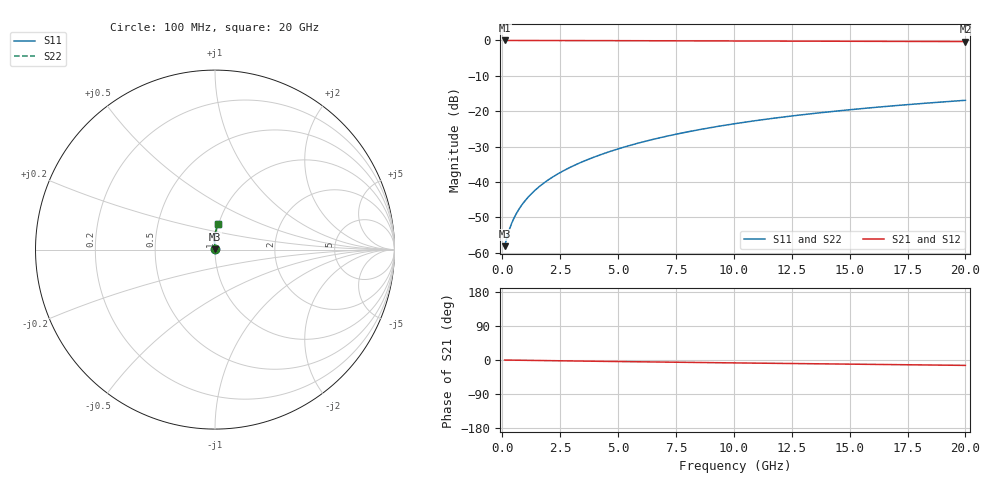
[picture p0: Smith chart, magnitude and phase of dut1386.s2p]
! Touchstone file exported from HFSS 2024.1.0
!  File:  C:/UserFiles/LocalFiles/RDL_TSV_Batchsim/temp_RDL_bottom_1386_1780371773.aedt
!  Generated:  11:45:41 AM Jun  2, 2026
!  Design:  RDL_bottom
!  Project:  temp_RDL_bottom_1386_1780371773
!  Setup:  Setup1
!  Solution:  Sweep
! Variables:
!  dtsv = 10.80580581um
!  hbump = 3um
!  htsv = 61.44um
!  ldown = 179.32um
!  lrdl = 100um
!  p = 40
!  p1 = 52.13um
!  rhole = 1um
!  t = 450um
!  tdown = 2.85um
!  trdl = 3.915915916um
!  wdown = 29.57um
!  wrdl = 20um
# GHz S MA R 50.000000
! Terminal data exported
! Port[1] = RDL1_T1
! Port[2] = RDL1_T2
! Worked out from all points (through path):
!   200 points, 100 MHz to 20 GHz, reference 50 ohm
!   highest |S21| = -0.01 dB at 100 MHz (marker M1); lowest = -0.3 dB at 20 GHz (marker M2)
!   group delay of S21, straight-line fit = 1.94 ps
!   lowest |S11| = -58.1 dB at 100 MHz (marker M3), VSWR 1.00, Z = 50.1 + j0.0615 ohm
!   |S11| at or under -10 dB: start of sweep to end of sweep
!   |S22| runs from -58.1 to -16.9 dB; largest |S21 - S12| = 2.1e-15
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0.1  0.001244 29.5  0.9989 -0.1  0.9989 -0.1  0.001244 29.5
! Gamma 0 0 0 0
! Port Impedance 50 0 50 0
0.2  0.001648 46.8  0.9988 -0.2  0.9988 -0.2  0.001648 46.8
0.3  0.002116 56.1  0.9988 -0.3  0.9988 -0.3  0.002116 56.1
0.4  0.002595 61.9  0.9987 -0.4  0.9987 -0.4  0.002595 61.9
0.5  0.003074 66.1  0.9986 -0.4  0.9986 -0.4  0.003074 66.1
0.6  0.003556 69.3  0.9985 -0.5  0.9985 -0.5  0.003556 69.3
0.8  0.004532 74.1  0.9984 -0.7  0.9984 -0.7  0.004532 74.1
1  0.005529 77.6  0.9982 -0.9  0.9982 -0.9  0.005529 77.6
1.2  0.006548 80.2  0.9981 -1.0  0.9981 -1.0  0.006548 80.2
1.7  0.009178 84.6  0.9976 -1.4  0.9976 -1.4  0.009178 84.7
2.2  0.01192 87.6  0.997 -1.9  0.997 -1.9  0.01192 87.6
2.8  0.01537 89.9  0.9961 -2.4  0.9961 -2.4  0.01537 89.9
3.5  0.0196 91.8  0.9948 -2.9  0.9948 -2.9  0.0196 91.8
4.2  0.02406 93.0  0.9934 -3.5  0.9934 -3.5  0.02406 93.0
5  0.0294 93.8  0.9917 -4.1  0.9917 -4.1  0.0294 93.8
5.9  0.03568 94.1  0.9898 -4.7  0.9898 -4.7  0.03568 94.1
6.8  0.04219 94.1  0.9878 -5.4  0.9878 -5.4  0.04219 94.1
8.4  0.05415 93.3  0.9843 -6.5  0.9843 -6.5  0.05416 93.3
10.1  0.06718 92.0  0.9808 -7.7  0.9808 -7.7  0.06718 92.0
13.4  0.09268 89.0  0.9747 -9.9  0.9747 -9.9  0.09269 89.0
16.7  0.1179 85.9  0.969 -12.1  0.969 -12.1  0.118 85.9
20  0.1427 82.9  0.9635 -14.2  0.9635 -14.2  0.1427 82.9
